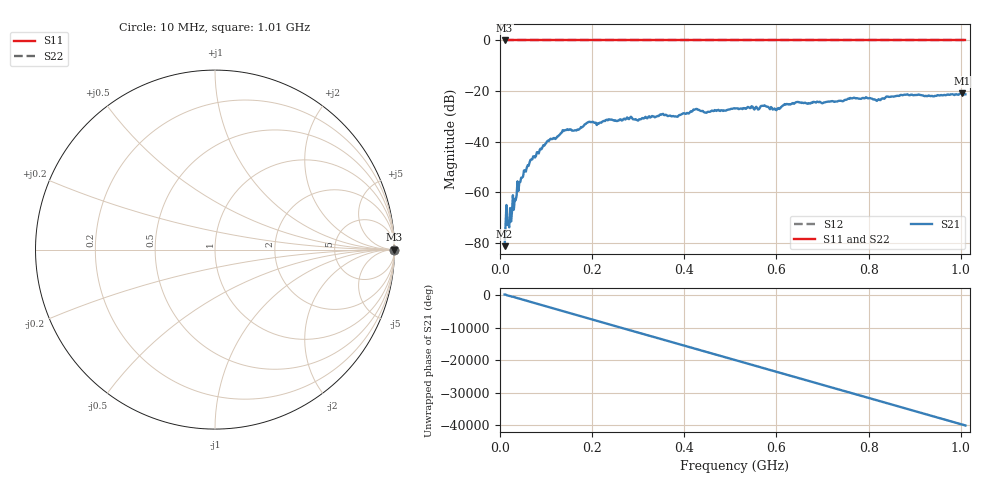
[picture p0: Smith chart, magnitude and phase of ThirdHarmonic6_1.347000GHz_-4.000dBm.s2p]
! 8/16/2025 3:08:22 PM
! C:\ANRITSUVNA\TEMP\TEMP.S2P
! CHANNEL.1
! TR.MEASUREMENT
! RAW.DATA
! RF.CORRECTION.OFF
! AVERAGING.OFF
! IF.BANDWIDTH: 5KHZ
! SWEEPTYPE:  FREQ.SWEEP(Linear)
! Reference Plane Port Info
! PORT:  PORT1  PORT2
! DISTANCE:  0  m  0  m
! TIME:  0  s  0  s
! PHASE.OFFSET:  0  deg.  0  deg.
! LOSS:  0  dB  0  dB
! REF.LOSS:  0  dB  0  dB
! REF.FREQ:  0  Hz  0  Hz
! Power Info
! POWER:  -20  dBm  -20  dBm
! EFF.POWER:  -20  dBm  -20  dBm
! SOURCE.ATTEN:  0  dB  0  dB
! TEST.ATTEN:  0  dB  0  dB
# GHZ S RI R 50.0
! FREQ.GHZ  S11RE  S11IM  S21RE  S21IM  S12RE  S12IM  S22RE  S22IM
!; PortSelection: Port_12
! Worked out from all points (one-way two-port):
!   501 points, 10 MHz to 1.01 GHz, reference 50 ohm
!   highest |S21| = -20.93 dB at 1.002 GHz (marker M1); lowest = -81.3 dB at 10 MHz (marker M2)
!   lowest |S11| = 0.0 dB at 10 MHz (marker M3)
!   |S11| at or under -10 dB: nowhere
!   |S22| runs from 0.0 to 0.0 dB; largest |S21 - S12| = 1.1
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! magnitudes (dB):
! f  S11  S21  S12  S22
! 10 MHz  0.0  -81.3  0.0  0.0
! 18 MHz  0.0  -72.1  0.0  0.0
! 20 MHz  0.0  -73.9  0.0  0.0
! 22 MHz  0.0  -66.3  0.0  0.0
! 42 MHz  0.0  -56.0  0.0  0.0
! 70 MHz  0.0  -47.0  0.0  0.0
! 106 MHz  0.0  -39.8  0.0  0.0
! 138 MHz  0.0  -35.8  0.0  0.0
! 178 MHz  0.0  -34.3  0.0  0.0
! 194 MHz  0.0  -32.1  0.0  0.0
! 344 MHz  0.0  -29.9  0.0  0.0
! 382 MHz  0.0  -30.0  0.0  0.0
! 424 MHz  0.0  -27.2  0.0  0.0
! 446 MHz  0.0  -28.5  0.0  0.0
! 510 MHz  0.0  -26.9  0.0  0.0
! 572 MHz  0.0  -25.9  0.0  0.0
! 596 MHz  0.0  -26.9  0.0  0.0
! 644 MHz  0.0  -24.3  0.0  0.0
! 678 MHz  0.0  -24.7  0.0  0.0
! 844 MHz  0.0  -22.3  0.0  0.0
! 1.002 GHz  0.0  -20.9  0.0  0.0
! 1.01 GHz  0.0  -21.3  0.0  0.0
